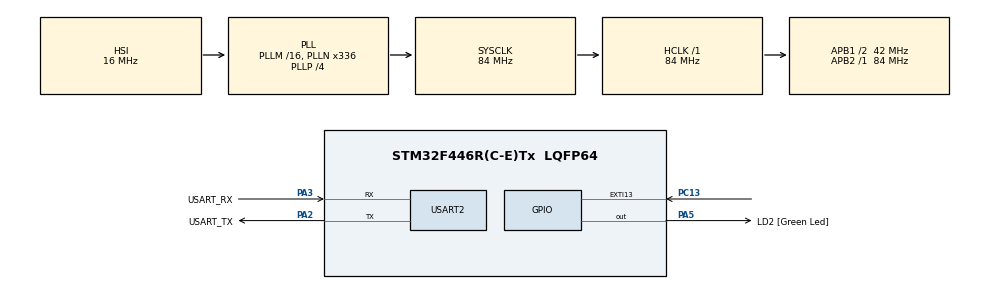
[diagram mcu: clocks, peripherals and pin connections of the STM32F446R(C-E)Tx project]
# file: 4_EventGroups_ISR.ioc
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FREERTOS.INCLUDE_xEventGroupSetBitFromISR=1
FREERTOS.INCLUDE_xTimerPendFunctionCall=1
FREERTOS.Tasks01=defaultTask,0,128,StartDefaultTask,Default,NULL,Dynamic,NULL,NULL
FREERTOS.configUSE_NEWLIB_REENTRANT=1
FREERTOS.configUSE_TIMERS=1
Mcu.Family=STM32F4
Mcu.Name=STM32F446R(C-E)Tx
Mcu.Package=LQFP64
NVIC.EXTI15_10_IRQn=true\:5\:0\:false\:false\:true\:true\:true\:true\:true
NVIC.PriorityGroup=NVIC_PRIORITYGROUP_4
NVIC.TIM6_DAC_IRQn=true\:15\:0\:false\:false\:true\:false\:false\:true\:true
NVIC.TimeBase=TIM6_DAC_IRQn
NVIC.TimeBaseIP=TIM6
PA2.GPIO_Label=USART_TX
PA2.Mode=Asynchronous
PA2.Signal=USART2_TX
PA3.GPIO_Label=USART_RX
PA3.Mode=Asynchronous
PA3.Signal=USART2_RX
PA5.GPIO_Label=LD2 [Green Led]
PA5.Signal=GPIO_Output
PC13.Signal=GPXTI13
ProjectManager.HeapSize=0x200
ProjectManager.StackSize=0x400
ProjectManager.TargetToolchain=STM32CubeIDE
RCC.AHBFreq_Value=84000000
RCC.APB1CLKDivider=RCC_HCLK_DIV2
RCC.APB1Freq_Value=42000000
RCC.APB1TimFreq_Value=84000000
RCC.APB2Freq_Value=84000000
RCC.APB2TimFreq_Value=84000000
RCC.CortexFreq_Value=84000000
RCC.FLatency-AdvancedSettings=FLASH_LATENCY_2
RCC.HCLKFreq_Value=84000000
RCC.HSE_VALUE=8000000
RCC.HSI_VALUE=16000000
RCC.LSE_VALUE=32768
RCC.PLLN=336
RCC.PLLP=RCC_PLLP_DIV4
RCC.SYSCLKFreq_VALUE=84000000
RCC.SYSCLKSource=RCC_SYSCLKSOURCE_PLLCLK
RCC.USBFreq_Value=168000000
RCC.VCOOutputFreq_Value=336000000
USART2.VirtualMode=VM_ASYNC
VP_FREERTOS_VS_CMSIS_V1.Mode=CMSIS_V1
VP_SYS_VS_tim6.Mode=TIM6
board=NUCLEO-F446RE

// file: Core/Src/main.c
/* USER CODE BEGIN Header */
/**
  ******************************************************************************
  * @file           : main.c
  * @brief          : Main program body
  ******************************************************************************
  * @attention
  *
  * Copyright (c) 2026 STMicroelectronics.
  * All rights reserved.
  *
  * This software is licensed under terms that can be found in the LICENSE file
  * in the root directory of this software component.
  * If no LICENSE file comes with this software, it is provided AS-IS.
  *
  ******************************************************************************
  */
/* USER CODE END Header */
#include "main.h"
/* USER CODE BEGIN Includes */

#include "FreeRTOS.h"
#include "task.h"
#include "timers.h"
#include "event_groups.h"

/* USER CODE END Includes */

UART_HandleTypeDef huart2;

/* USER CODE BEGIN PV */

/************** Create EventGroup and task handles *****************/
EventGroupHandle_t EventGroupTasks_handle;

const EventBits_t task01_bit = (1 << 0);
const EventBits_t ISR_bit = (1 << 1);

const EventBits_t combined_bits = (task01_bit | ISR_bit);

TaskHandle_t Task01_handle, WatchDogTask_handle;

//void Task01_Entry(void *arg){
//	static int count  = 1;
//	while(1){
//		// sets the task01 bits if not 3 to simulate failure
//		if(count % 3 == 0){
//			// do nothing, something failed, at multiples of 3
//			vTaskDelay(pdMS_TO_TICKS(1000));
//		}else{
//			xEventGroupSetBits(EventGroupTasks_handle, task01_bit);
//			vTaskDelay(pdMS_TO_TICKS(1000));
//		}
//		count++;
//	}
//}

void Task01_Entry(void *arg){
	while(1){
		// sets the task01 bits
		xEventGroupSetBits(EventGroupTasks_handle, task01_bit);
		vTaskDelay(pdMS_TO_TICKS(1000));
	}
}

//void Task03_Entry(void *arg){
//	static int count = 1;
//	while(1){
//		// sets the task01 bits, failure for every 5th bit
//		if(count % 5 == 0){
//			// do nothing
//			vTaskDelay(pdMS_TO_TICKS(1000));
//		}else{
//			xEventGroupSetBits(EventGroupTasks_handle, task03_bit);
//			vTaskDelay(pdMS_TO_TICKS(1000));
//		}
//		count++;
//	}
//}

//void WatchDogTask_Entry(void *arg){
//	while(1){
//		// wait for all the bits to be set and check until the timeout/wait time of 2000ms
//		EventBits_t uxBits = xEventGroupWaitBits(EventGroupTasks_handle, combined_bits, pdTRUE, pdTRUE, pdMS_TO_TICKS(2000));
//
//		if((uxBits & combined_bits) == combined_bits){
//			HAL_UART_Transmit(&huart2, (const uint8_t *)"All Tasks are running\r\n", 23, HAL_MAX_DELAY);
//		}else{
//			if((uxBits & task01_bit) != task01_bit){
//				HAL_UART_Transmit(&huart2, (const uint8_t *)"Task 1 is not running\r\n", 23, HAL_MAX_DELAY);
//			}
//			if((uxBits & ISR_bit) != ISR_bit){
//				HAL_UART_Transmit(&huart2, (const uint8_t *)"ISR is not trigerred\r\n", 23, HAL_MAX_DELAY);
//			}
//		}
//	}
//}

void WatchDogTask_Entry(void *arg){
	while(1){
		// wait for all the bits to be set and check until the timeout/wait time of 2000ms
		EventBits_t uxBits = xEventGroupWaitBits(EventGroupTasks_handle, combined_bits, pdTRUE, pdFALSE, pdMS_TO_TICKS(2000));

		if(uxBits){
			HAL_UART_Transmit(&huart2, (const uint8_t *)"Either of the Tasks are running\r\n", 33, HAL_MAX_DELAY);

			if((uxBits & task01_bit) == task01_bit){
				HAL_UART_Transmit(&huart2, (const uint8_t *)"Task 1 is running\r\n", 19, HAL_MAX_DELAY);
			}
			if((uxBits & ISR_bit) == ISR_bit){
				HAL_UART_Transmit(&huart2, (const uint8_t *)"ISR is trigerred\r\n", 18, HAL_MAX_DELAY);
			}
		}
	}
}

/* USER CODE END PV */

void SystemClock_Config(void);
static void MX_GPIO_Init(void);
static void MX_USART2_UART_Init(void);
void StartDefaultTask(void const * argument);

int main(void)
{

  /* MCU Configuration--------------------------------------------------------*/

  /* Reset of all peripherals, Initializes the Flash interface and the Systick. */
  HAL_Init();

  /* Configure the system clock */
  SystemClock_Config();

  /* Initialize all configured peripherals */
  MX_GPIO_Init();
  MX_USART2_UART_Init();
  /* USER CODE BEGIN 2 */

    /****** Create EventGroup ************/

    EventGroupTasks_handle = xEventGroupCreate();
    if(EventGroupTasks_handle == NULL){
  	  HAL_UART_Transmit(&huart2, (const uint8_t *)"EventGroup is not created\r\n", 27, HAL_MAX_DELAY);
    }else{
  	  HAL_UART_Transmit(&huart2, (const uint8_t *)"EventGroup is created\r\n", 23, HAL_MAX_DELAY);
    }

    /************ Create tasks **************/
    BaseType_t task01_status;
    task01_status = xTaskCreate(Task01_Entry, "Task01", 128, NULL, 1, &Task01_handle);
//    task02_status = xTaskCreate(Task02_Entry, "Task02", 128, NULL, 1, &Task02_handle);
//    task03_status = xTaskCreate(Task03_Entry, "Task03", 128, NULL, 1, &Task03_handle);

    /******** Create way=tchDog Task to monitor the eventGroupSet by tasks, with Higher Prio *********/
	BaseType_t watchdogTask_status;
	watchdogTask_status = xTaskCreate(WatchDogTask_Entry, "WdgTask", 128, NULL, 2, &WatchDogTask_handle);

    if(task01_status == pdTRUE && watchdogTask_status){
    	HAL_UART_Transmit(&huart2, (const uint8_t *)"Tasks are created\r\n", 19, HAL_MAX_DELAY);
    }else{
    	HAL_UART_Transmit(&huart2, (const uint8_t *)"Tasks are not created\r\n", 23, HAL_MAX_DELAY);
    }

    vTaskStartScheduler();
    /* We should never get here as control is now taken by the scheduler */

    /* USER CODE END 2 */

  /* Infinite loop */
  while (1)
  {

  }
}

void SystemClock_Config(void)
{
  RCC_OscInitTypeDef RCC_OscInitStruct = {0};
  RCC_ClkInitTypeDef RCC_ClkInitStruct = {0};

  /** Configure the main internal regulator output voltage
  */
  __HAL_RCC_PWR_CLK_ENABLE();
  __HAL_PWR_VOLTAGESCALING_CONFIG(PWR_REGULATOR_VOLTAGE_SCALE3);

  /** Initializes the RCC Oscillators according to the specified parameters
  * in the RCC_OscInitTypeDef structure.
  */
  RCC_OscInitStruct.OscillatorType = RCC_OSCILLATORTYPE_HSI;
  RCC_OscInitStruct.HSIState = RCC_HSI_ON;
  RCC_OscInitStruct.HSICalibrationValue = RCC_HSICALIBRATION_DEFAULT;
  RCC_OscInitStruct.PLL.PLLState = RCC_PLL_ON;
  RCC_OscInitStruct.PLL.PLLSource = RCC_PLLSOURCE_HSI;
  RCC_OscInitStruct.PLL.PLLM = 16;
  RCC_OscInitStruct.PLL.PLLN = 336;
  RCC_OscInitStruct.PLL.PLLP = RCC_PLLP_DIV4;
  RCC_OscInitStruct.PLL.PLLQ = 2;
  RCC_OscInitStruct.PLL.PLLR = 2;
  if (HAL_RCC_OscConfig(&RCC_OscInitStruct) != HAL_OK)
  {
    Error_Handler();
  }

  /** Initializes the CPU, AHB and APB buses clocks
  */
  RCC_ClkInitStruct.ClockType = RCC_CLOCKTYPE_HCLK|RCC_CLOCKTYPE_SYSCLK
                              |RCC_CLOCKTYPE_PCLK1|RCC_CLOCKTYPE_PCLK2;
  RCC_ClkInitStruct.SYSCLKSource = RCC_SYSCLKSOURCE_PLLCLK;
  RCC_ClkInitStruct.AHBCLKDivider = RCC_SYSCLK_DIV1;
  RCC_ClkInitStruct.APB1CLKDivider = RCC_HCLK_DIV2;
  RCC_ClkInitStruct.APB2CLKDivider = RCC_HCLK_DIV1;

  if (HAL_RCC_ClockConfig(&RCC_ClkInitStruct, FLASH_LATENCY_2) != HAL_OK)
  {
    Error_Handler();
  }
}

static void MX_USART2_UART_Init(void)
{

  huart2.Instance = USART2;
  huart2.Init.BaudRate = 115200;
  huart2.Init.WordLength = UART_WORDLENGTH_8B;
  huart2.Init.StopBits = UART_STOPBITS_1;
  huart2.Init.Parity = UART_PARITY_NONE;
  huart2.Init.Mode = UART_MODE_TX_RX;
  huart2.Init.HwFlowCtl = UART_HWCONTROL_NONE;
  huart2.Init.OverSampling = UART_OVERSAMPLING_16;
  if (HAL_UART_Init(&huart2) != HAL_OK)
  {
    Error_Handler();
  }

}

static void MX_GPIO_Init(void)
{
  GPIO_InitTypeDef GPIO_InitStruct = {0};

  /* GPIO Ports Clock Enable */
  __HAL_RCC_GPIOC_CLK_ENABLE();
  __HAL_RCC_GPIOA_CLK_ENABLE();

  /*Configure GPIO pin Output Level */
  HAL_GPIO_WritePin(LD2_GPIO_Port, LD2_Pin, GPIO_PIN_RESET);

  /*Configure GPIO pin : PC13 */
  GPIO_InitStruct.Pin = GPIO_PIN_13;
  GPIO_InitStruct.Mode = GPIO_MODE_IT_RISING;
  GPIO_InitStruct.Pull = GPIO_NOPULL;
  HAL_GPIO_Init(GPIOC, &GPIO_InitStruct);

  /*Configure GPIO pin : LD2_Pin */
  GPIO_InitStruct.Pin = LD2_Pin;
  GPIO_InitStruct.Mode = GPIO_MODE_OUTPUT_PP;
  GPIO_InitStruct.Pull = GPIO_NOPULL;
  GPIO_InitStruct.Speed = GPIO_SPEED_FREQ_LOW;
  HAL_GPIO_Init(LD2_GPIO_Port, &GPIO_InitStruct);

  /* EXTI interrupt init*/
  HAL_NVIC_SetPriority(EXTI15_10_IRQn, 5, 0);
  HAL_NVIC_EnableIRQ(EXTI15_10_IRQn);

}

/* USER CODE BEGIN 4 */
void HAL_GPIO_EXTI_Callback(uint16_t GPIO_Pin){
	if(GPIO_Pin == GPIO_PIN_13){
		// toggle LED
		HAL_GPIO_TogglePin(GPIOA, GPIO_PIN_5);

		// setEventBits from ISR
		BaseType_t xHigherPriotaskWoken = pdFALSE;
		xEventGroupSetBitsFromISR(EventGroupTasks_handle, ISR_bit, &xHigherPriotaskWoken);
		// context switch if required
		portYIELD_FROM_ISR(xHigherPriotaskWoken);
	}
}
/* USER CODE END 4 */

void HAL_TIM_PeriodElapsedCallback(TIM_HandleTypeDef *htim)
{
  if (htim->Instance == TIM6) {
    HAL_IncTick();
  }
}

void Error_Handler(void)
{
  __disable_irq();
  while (1)
  {
  }
}
